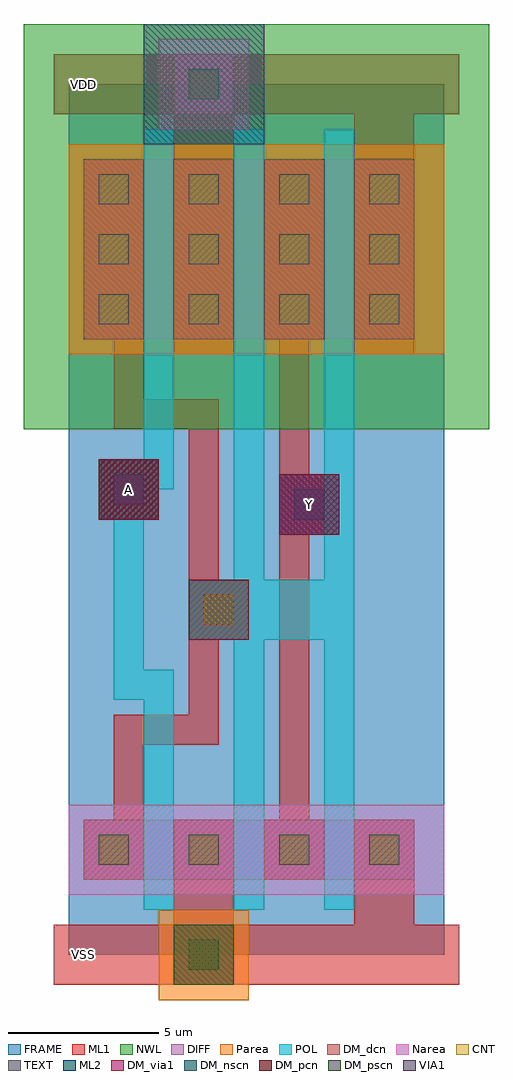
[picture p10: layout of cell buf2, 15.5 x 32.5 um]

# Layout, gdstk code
import gdstk
lib = gdstk.Library(unit=1e-6, precision=1e-09)
def R(c, l, rs):  # rectangles x0, y0, x1, y1
    for r in rs: c.add(gdstk.rectangle(r[:2], r[2:], *l))
NWL = (1, 0)
DIFF = (3, 0)
POL = (5, 0)
CNT = (7, 0)
ML1 = (8, 0)
VIA1 = (9, 0)
ML2 = (10, 0)
TEXT = (13, 0)
FRAME = (14, 0)
Parea = (18, 0)
Narea = (19, 0)
DM_dcn = (101, 0)
DM_pcn = (102, 0)
DM_nscn = (103, 0)
DM_pscn = (104, 0)
DM_via1 = (105, 0)

pcont = lib.new_cell('pcont')
R(pcont, POL, [(-1,-1,1,1)])
R(pcont, CNT, [(-0.5,-0.5,0.5,0.5)])
R(pcont, ML1, [(-1,-1,1,1)])
R(pcont, DM_pcn, [(-1,-1,1,1)])
pcont.add(gdstk.Label('pcont', (0,0), layer=13, texttype=0))

via = lib.new_cell('Via')
R(via, ML1, [(-1,-1,1,1)])
R(via, VIA1, [(-0.5,-0.5,0.5,0.5)])
R(via, ML2, [(-1,-1,1,1)])
R(via, TEXT, [(-0.5,-0.5,0.5,0.5)])
R(via, DM_via1, [(-1,-1,1,1)])
via.add(gdstk.Label('via', (0,0), layer=13, texttype=0))

dcont = lib.new_cell('dcont')
R(dcont, DIFF, [(-1,-1,1,1)])
R(dcont, CNT, [(-0.5,-0.5,0.5,0.5)])
R(dcont, ML1, [(-1,-1,1,1)])
R(dcont, TEXT, [(-0.5,-0.5,0.5,0.5)])
R(dcont, DM_dcn, [(-1,-1,1,1)])
dcont.add(gdstk.Label('dcont', (0,0), layer=13, texttype=0))

psubcont = lib.new_cell('psubcont')
R(psubcont, Parea, [(-1.5,-1.5,1.5,1.5)])
R(psubcont, DM_pscn, [(-1,-1,1,1)])
psubcont.add(gdstk.Reference(dcont, (0,0)))
psubcont.add(gdstk.Label('PScon', (0,0), layer=13, texttype=0))

nsubcont = lib.new_cell('nsubcont')
R(nsubcont, NWL, [(-2,-2,2,2)])
R(nsubcont, Narea, [(-1.5,-1.5,1.5,1.5)])
R(nsubcont, DM_nscn, [(-2,-2,2,2)])
nsubcont.add(gdstk.Reference(dcont, (0,0)))
nsubcont.add(gdstk.Label('NScont', (0,0), layer=13, texttype=0))

buf2 = lib.new_cell('buf2')
R(buf2, NWL, [(-1.5,17.5,14,31)])
R(buf2, DIFF, [(0.5,2.5,11.5,4.5), (0.5,20.5,11.5,26.5)])
R(buf2, ML1, [(-0.5,-1,13,1), (7,14,9,16), (1,14.5,3,16.5), (-0.5,28,13,30)])
R(buf2, ML2, [(7,14,9,16), (1,14.5,3,16.5)])
R(buf2, FRAME, [(0,0,12.5,29)])
R(buf2, Parea, [(0,20,12.5,27)])
R(buf2, Narea, [(0,2,12.5,5)])
R(buf2, DM_via1, [(7,14,9,16), (1,14.5,3,16.5)])
buf2.add(gdstk.FlexPath([(6,2),(6,11),(9,11)], 1, ends="extended", simple_path=True, layer=5, datatype=0))  # POL
buf2.add(gdstk.FlexPath([(6,27),(6,12),(9,12)], 1, ends="extended", simple_path=True, layer=5, datatype=0))  # POL
buf2.add(gdstk.FlexPath([(9,27),(9,2)], 1, ends="extended", simple_path=True, layer=5, datatype=0))  # POL
buf2.add(gdstk.FlexPath([(3,2),(3,9),(2,9),(2,16),(3,16),(3,27)], 1, ends="extended", simple_path=True, layer=5, datatype=0))  # POL
buf2.add(gdstk.FlexPath([(1.5,22.3),(1.5,25.5)], 1.4, ends="extended", simple_path=True, layer=8, datatype=0))  # ML1
buf2.add(gdstk.FlexPath([(2,20.5),(2,18),(4.5,18),(4.5,7.5),(2,7.5),(2,3.8)], 1, ends="extended", simple_path=True, layer=8, datatype=0))  # ML1
buf2.add(gdstk.FlexPath([(4.5,21),(4.5,28.5)], 2, ends="extended", simple_path=True, layer=8, datatype=0))  # ML1
buf2.add(gdstk.FlexPath([(4.5,1),(4.5,3.5)], 2, ends="extended", simple_path=True, layer=8, datatype=0))  # ML1
buf2.add(gdstk.FlexPath([(7.5,22.3),(7.5,25.5)], 1.4, ends="extended", simple_path=True, layer=8, datatype=0))  # ML1
buf2.add(gdstk.FlexPath([(7.5,3.9),(7.5,20.5)], 1, ends="extended", simple_path=True, layer=8, datatype=0))  # ML1
buf2.add(gdstk.FlexPath([(10.5,1),(10.5,3.5)], 2, ends="extended", simple_path=True, layer=8, datatype=0))  # ML1
buf2.add(gdstk.FlexPath([(10.5,21),(10.5,28.5)], 2, ends="extended", simple_path=True, layer=8, datatype=0))  # ML1
buf2.add(gdstk.FlexPath([(10.5,22.3),(10.5,25.5)], 1.4, ends="extended", simple_path=True, layer=8, datatype=0))  # ML1
buf2.add(gdstk.Reference(pcont, (2,15.5)))
buf2.add(gdstk.Reference(via, (8,15)))
buf2.add(gdstk.Reference(dcont, (4.5,21.5)))
buf2.add(gdstk.Reference(dcont, (1.5,25.5)))
buf2.add(gdstk.Reference(via, (2,15.5)))
buf2.add(gdstk.Reference(dcont, (7.5,25.5)))
buf2.add(gdstk.Reference(dcont, (4.5,25.5)))
buf2.add(gdstk.Reference(dcont, (10.5,25.5)))
buf2.add(gdstk.Reference(dcont, (10.5,3.5)))
buf2.add(gdstk.Reference(dcont, (1.5,21.5)))
buf2.add(gdstk.Reference(psubcont, (4.5,0)))
buf2.add(gdstk.Reference(nsubcont, (4.5,29)))
buf2.add(gdstk.Reference(dcont, (4.5,3.5)))
buf2.add(gdstk.Reference(dcont, (7.5,23.5)))
buf2.add(gdstk.Reference(dcont, (1.5,3.5)))
buf2.add(gdstk.Reference(pcont, (5,11.5)))
buf2.add(gdstk.Reference(dcont, (7.5,21.5)))
buf2.add(gdstk.Reference(dcont, (1.5,23.5)))
buf2.add(gdstk.Reference(dcont, (10.5,23.5)))
buf2.add(gdstk.Reference(dcont, (7.5,3.5)))
buf2.add(gdstk.Reference(dcont, (10.5,21.5)))
buf2.add(gdstk.Reference(dcont, (4.5,23.5)))
buf2.add(gdstk.Label('VDD', (0.5,29), layer=8, texttype=0))
buf2.add(gdstk.Label('VSS', (0.5,0), layer=8, texttype=0))
buf2.add(gdstk.Label('A', (2,15.5), layer=10, texttype=0))
buf2.add(gdstk.Label('Y', (8,15), layer=10, texttype=0))
buf2.add(gdstk.Label('via', (2,15.5), layer=13, texttype=0))
buf2.add(gdstk.Label('via', (8,15), layer=13, texttype=0))

lib.write_gds('buf2.gds')
